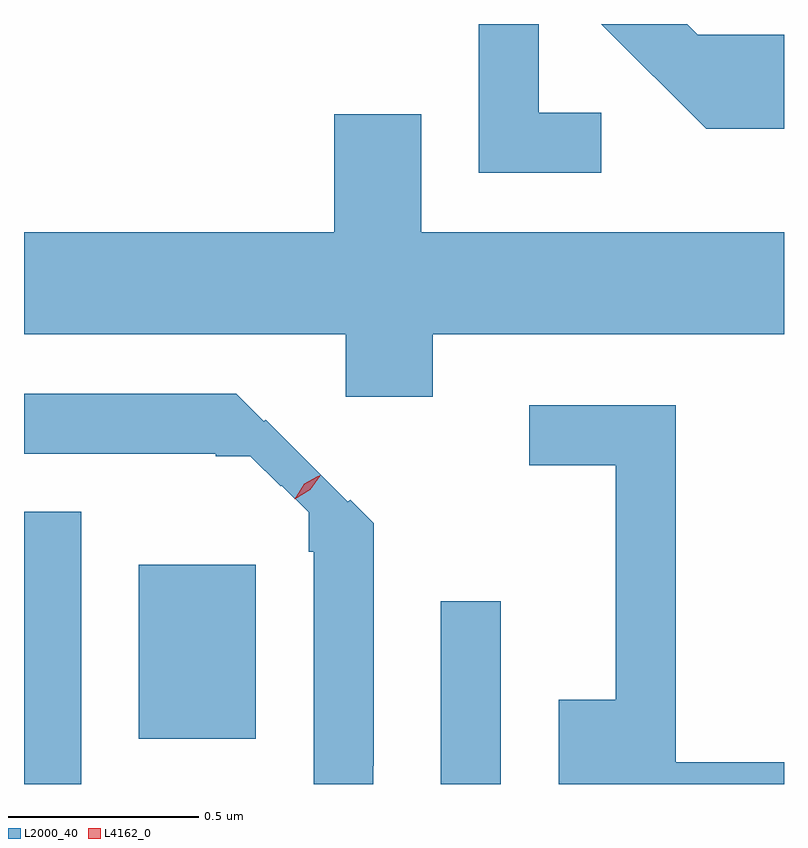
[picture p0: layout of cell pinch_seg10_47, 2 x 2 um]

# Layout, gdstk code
import gdstk
lib = gdstk.Library(unit=1e-6, precision=1e-09)
def R(c, l, rs):  # rectangles x0, y0, x1, y1
    for r in rs: c.add(gdstk.rectangle(r[:2], r[2:], *l))
def P(c, l, *ps):  # polygons
    for p in ps: c.add(gdstk.Polygon(p, *l))
L2000_40 = (2000, 40)
L4162_0 = (4162, 0)

pinch_seg10_47 = lib.new_cell('pinch_seg10_47')
R(pinch_seg10_47, L2000_40, [(606.729,2154.912,606.879,2155.629), (607.826,2154.912,607.984,2155.393), (607.031,2155.031,607.339,2155.489)])
P(pinch_seg10_47, L2000_40, [(608.248,2156.679),(608.084,2156.679),(608.084,2156.912),(607.926,2156.912),(607.926,2156.521),(608.248,2156.521)],
  [(608.729,2156.884),(608.502,2156.884),(608.474,2156.912),(608.248,2156.912),(608.524,2156.636),(608.729,2156.636)],
  [(607.804,2156.096),(608.729,2156.096),(608.729,2156.364),(607.774,2156.364),(607.774,2156.674),(607.546,2156.674),(607.546,2156.364),(606.729,2156.364),(606.729,2156.096),(607.576,2156.096),(607.576,2155.931),(607.804,2155.931)],
  [(607.648,2154.96),(607.649,2154.96),(607.649,2155.598),(607.587,2155.66),(607.581,2155.655),(607.365,2155.871),(607.36,2155.867),(607.288,2155.939),(606.729,2155.939),(606.729,2155.781),(607.233,2155.781),(607.233,2155.774),(607.325,2155.774),(607.405,2155.695),(607.407,2155.697),(607.478,2155.627),(607.478,2155.523),(607.491,2155.523),(607.491,2154.912),(607.648,2154.912)],
  [(608.729,2154.969),(608.444,2154.969),(608.444,2155.909),(608.058,2155.909),(608.058,2155.751),(608.286,2155.751),(608.286,2155.134),(608.136,2155.134),(608.136,2154.912),(608.729,2154.912)])
P(pinch_seg10_47, L4162_0, [(607.442,2155.662),(607.442,2155.663),(607.468,2155.7),(607.508,2155.724),(607.509,2155.724),(607.509,2155.723),(607.482,2155.686),(607.442,2155.662)],
  [(607.445,2155.668),(607.445,2155.668),(607.467,2155.702),(607.502,2155.722),(607.503,2155.722),(607.503,2155.721),(607.481,2155.687),(607.446,2155.668)])

lib.write_gds('pinch_seg10_47.gds')
